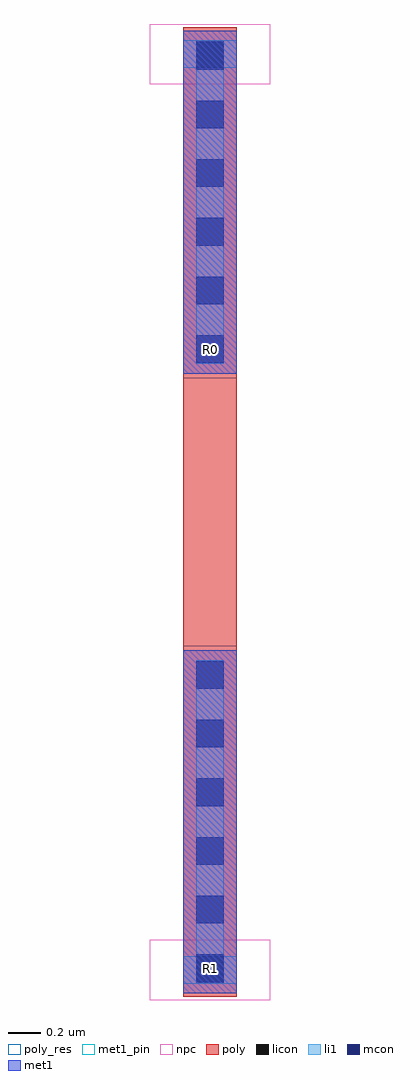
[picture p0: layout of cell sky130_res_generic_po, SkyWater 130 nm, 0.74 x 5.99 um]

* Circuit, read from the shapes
.subckt sky130_res_generic_po R0 R1
R1 R0 R1 sky130_fd_pr__res_generic_po w=0.33 l=1.65
.ends

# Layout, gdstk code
import gdstk
lib = gdstk.Library(unit=1e-6, precision=1e-09)
def R(c, l, rs):  # rectangles x0, y0, x1, y1
    for r in rs: c.add(gdstk.rectangle(r[:2], r[2:], *l))
def A(c, l, x, y, w, h, nx, ny, dx, dy):  # array of equal rectangles
    R(c, l, [(x+i*dx, y+j*dy, x+i*dx+w, y+j*dy+h) for i in range(nx) for j in range(ny)])
poly_res = (66, 13)
poly = (66, 20)
licon = (66, 44)
li1 = (67, 20)
mcon = (67, 44)
met1_pin = (68, 16)
met1 = (68, 20)
npc = (95, 20)

res_poly = lib.new_cell('res_poly')
R(res_poly, poly_res, [(-0.165,-0.825,0.165,0.825)])
R(res_poly, poly, [(-0.165,-2.975,0.165,2.975)])
R(res_poly, licon, [(-0.085,-2.895,0.085,-2.725), (-0.085,2.725,0.085,2.895)])
R(res_poly, li1, [(-0.165,-2.895,0.165,-2.725), (-0.085,-2.725,0.085,-0.91), (-0.085,0.91,0.085,2.725), (-0.165,2.725,0.165,2.895)])
A(res_poly, mcon, -0.085, -2.885, 0.17, 0.17, 1, 6, 0, 0.36)
A(res_poly, mcon, -0.085, 0.915, 0.17, 0.17, 1, 6, 0, 0.36)
R(res_poly, met1, [(-0.165,-2.955,0.165,-0.85), (-0.165,0.85,0.165,2.955)])
R(res_poly, npc, [(-0.37,-2.995,0,-2.625), (0,-2.995,0.37,-2.625), (-0.37,2.625,0,2.995), (0,2.625,0.37,2.995)])

sky130_res_generic_po = lib.new_cell('sky130_res_generic_po')
R(sky130_res_generic_po, met1_pin, [(-0.085,-2.885,0.085,-2.715), (-0.085,0.915,0.085,1.085)])
sky130_res_generic_po.add(gdstk.Reference(res_poly, (0,0)))
sky130_res_generic_po.add(gdstk.Label('R0', (0,1), layer=68, texttype=5))
sky130_res_generic_po.add(gdstk.Label('R1', (0,-2.8), layer=68, texttype=5))

lib.write_gds('sky130_res_generic_po.gds')
